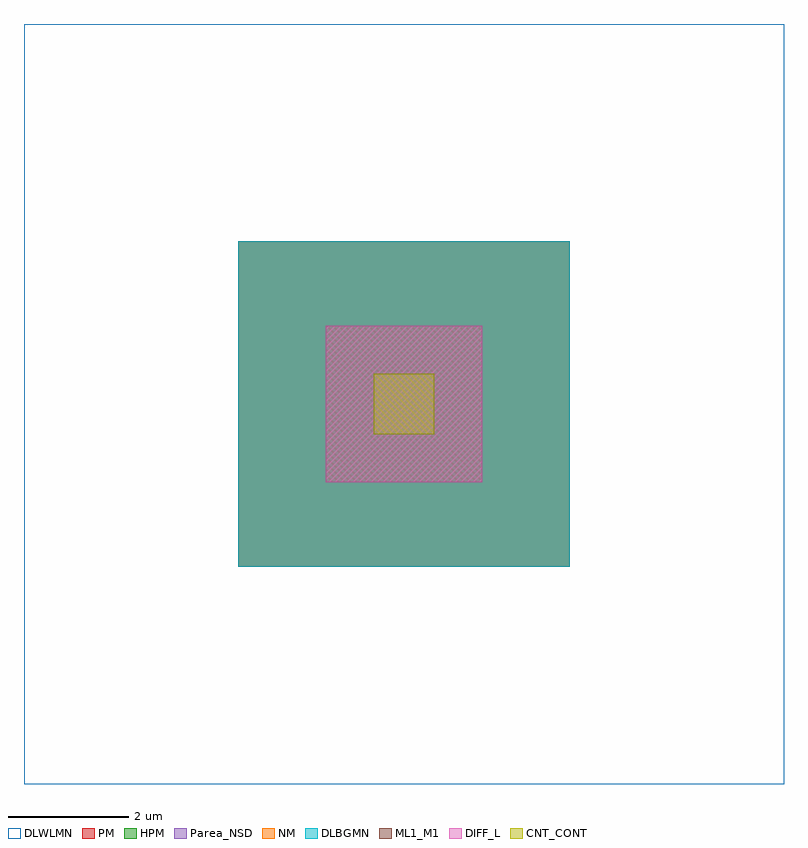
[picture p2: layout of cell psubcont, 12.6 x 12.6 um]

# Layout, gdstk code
import gdstk
lib = gdstk.Library(unit=1e-6, precision=1e-09)
def R(c, l, rs):  # rectangles x0, y0, x1, y1
    for r in rs: c.add(gdstk.rectangle(r[:2], r[2:], *l))
DIFF_L = (3, 0)
NM = (7, 0)
CNT_CONT = (11, 0)
ML1_M1 = (13, 0)
Parea_NSD = (28, 0)
HPM = (33, 0)
PM = (35, 0)
DLWLMN = (151, 0)
DLBGMN = (178, 0)

dcont = lib.new_cell('DCONT')
R(dcont, DIFF_L, [(-1.3,-1.3,1.3,1.3)])
R(dcont, CNT_CONT, [(-0.5,-0.5,0.5,0.5)])
R(dcont, ML1_M1, [(-1.3,-1.3,1.3,1.3), (-0.5,-0.5,0.5,0.5)])

psubcont = lib.new_cell('psubcont')
R(psubcont, NM, [(-2.75,-2.7,2.75,2.7)])
R(psubcont, Parea_NSD, [(-2.75,-2.7,2.75,2.7)])
R(psubcont, HPM, [(-2.75,-2.7,2.75,2.7)])
R(psubcont, PM, [(-2.75,-2.7,2.75,2.7)])
R(psubcont, DLWLMN, [(-6.3,-6.3,6.3,6.3)])
R(psubcont, DLBGMN, [(-2.75,-2.7,2.75,2.7)])
psubcont.add(gdstk.Reference(dcont, (0,0)))

lib.write_gds('psubcont.gds')
